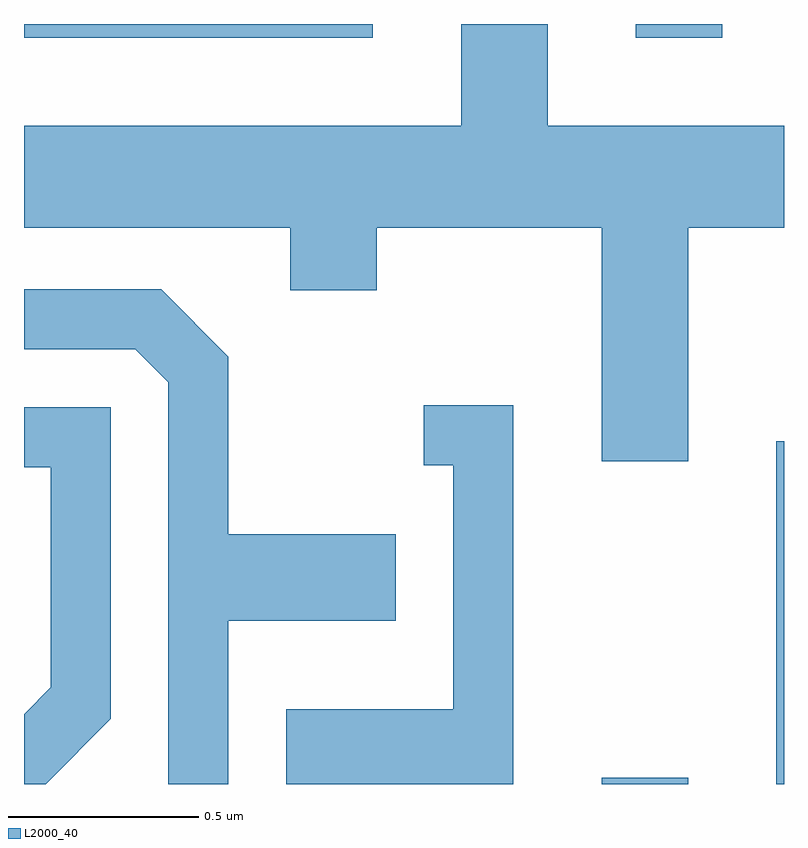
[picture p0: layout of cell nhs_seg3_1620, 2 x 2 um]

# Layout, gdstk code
import gdstk
lib = gdstk.Library(unit=1e-6, precision=1e-09)
def R(c, l, rs):  # rectangles x0, y0, x1, y1
    for r in rs: c.add(gdstk.rectangle(r[:2], r[2:], *l))
def P(c, l, *ps):  # polygons
    for p in ps: c.add(gdstk.Polygon(p, *l))
L2000_40 = (2000, 40)

nhs_seg3_1620 = lib.new_cell('nhs_seg3_1620')
R(nhs_seg3_1620, L2000_40, [(198.131,1228.892,198.359,1228.909), (198.591,1228.892,198.611,1229.794), (196.611,1230.856,197.529,1230.892), (198.221,1230.856,198.449,1230.892)])
P(nhs_seg3_1620, L2000_40, [(198.359,1230.356),(198.611,1230.356),(198.611,1230.624),(197.989,1230.624),(197.989,1230.892),(197.761,1230.892),(197.761,1230.624),(196.611,1230.624),(196.611,1230.356),(197.311,1230.356),(197.311,1230.191),(197.539,1230.191),(197.539,1230.356),(198.131,1230.356),(198.131,1229.741),(198.359,1229.741)],
  [(197.149,1229.321),(197.589,1229.321),(197.589,1229.549),(197.149,1229.549),(197.149,1230.017),(196.972,1230.194),(196.611,1230.194),(196.611,1230.036),(196.904,1230.036),(196.991,1229.949),(196.991,1228.892),(197.149,1228.892)],
  [(197.899,1229.889),(197.663,1229.889),(197.663,1229.731),(197.741,1229.731),(197.741,1229.089),(197.301,1229.089),(197.301,1228.892),(197.899,1228.892)],
  [(196.839,1229.064),(196.839,1229.884),(196.611,1229.884),(196.611,1229.726),(196.681,1229.726),(196.681,1229.147),(196.611,1229.076),(196.611,1228.892),(196.668,1228.892)])

lib.write_gds('nhs_seg3_1620.gds')
